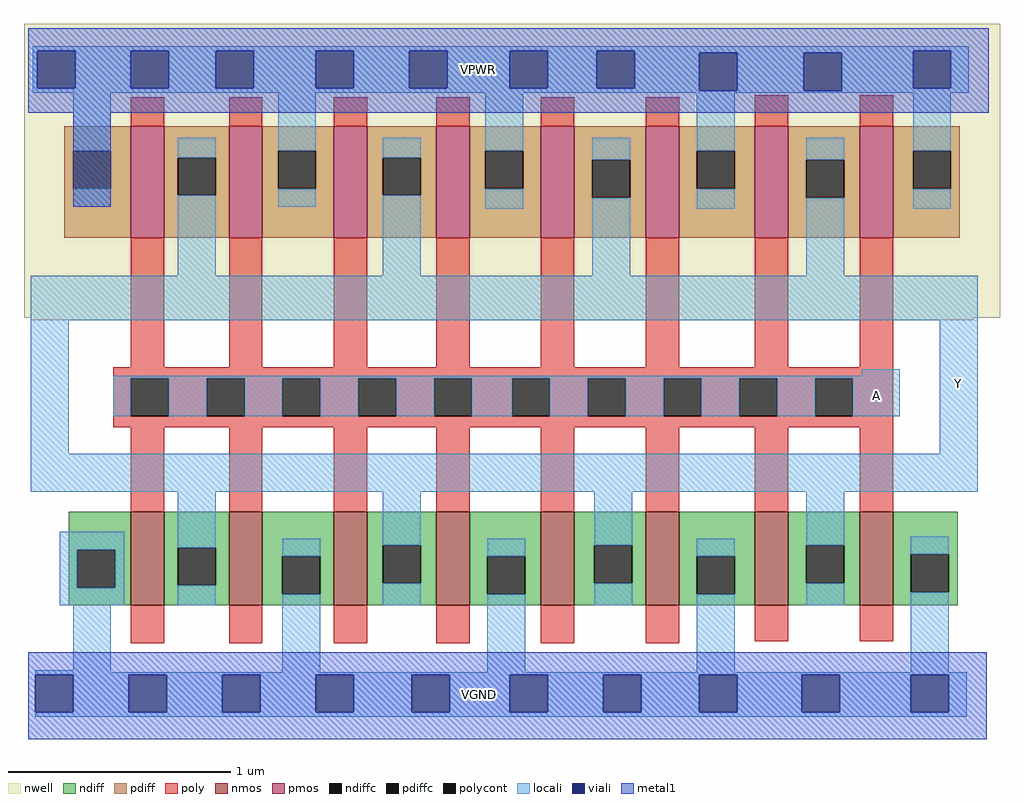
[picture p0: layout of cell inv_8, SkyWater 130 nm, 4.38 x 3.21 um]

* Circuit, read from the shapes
.subckt inv_8 A Y VPWR VGND
XM1 Y A VGND VSUBS sky130_fd_pr__nfet_01v8 w=0.42 l=0.15 m=8
XM2 Y A VPWR n1 sky130_fd_pr__pfet_01v8 w=0.5 l=0.15 m=8
.ends

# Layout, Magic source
magic
tech sky130A
<< nwell >>
rect -2 169 436 301
rect 1 168 424 169
<< nmos >>
rect 46 40 61 82
rect 90 40 105 82
rect 137 40 152 82
rect 183 40 198 82
rect 230 40 245 82
rect 277 40 292 82
rect 326 40 341 82
rect 373 40 388 82
<< pmos >>
rect 46 205 61 255
rect 90 205 105 255
rect 137 205 152 255
rect 183 205 198 255
rect 230 205 245 255
rect 277 205 292 255
rect 326 205 341 255
rect 373 205 388 255
<< ndiff >>
rect 18 65 46 82
rect 18 48 22 65
rect 39 48 46 65
rect 18 40 46 48
rect 61 66 90 82
rect 61 49 67 66
rect 84 49 90 66
rect 61 40 90 49
rect 105 62 137 82
rect 105 45 114 62
rect 131 45 137 62
rect 105 40 137 45
rect 152 67 183 82
rect 152 50 159 67
rect 176 50 183 67
rect 152 40 183 50
rect 198 62 230 82
rect 198 45 206 62
rect 223 45 230 62
rect 198 40 230 45
rect 245 67 277 82
rect 245 50 254 67
rect 271 50 277 67
rect 245 40 277 50
rect 292 62 326 82
rect 292 45 300 62
rect 317 45 326 62
rect 292 40 326 45
rect 341 67 373 82
rect 341 50 349 67
rect 366 50 373 67
rect 341 40 373 50
rect 388 63 417 82
rect 388 46 396 63
rect 413 46 417 63
rect 388 40 417 46
<< pdiff >>
rect 16 244 46 255
rect 16 227 20 244
rect 37 227 46 244
rect 16 205 46 227
rect 61 241 90 255
rect 61 224 67 241
rect 84 224 90 241
rect 61 205 90 224
rect 105 244 137 255
rect 105 227 112 244
rect 129 227 137 244
rect 105 205 137 227
rect 152 241 183 255
rect 152 224 159 241
rect 176 224 183 241
rect 152 205 183 224
rect 198 244 230 255
rect 198 227 205 244
rect 222 227 230 244
rect 198 205 230 227
rect 245 240 277 255
rect 245 223 253 240
rect 270 223 277 240
rect 245 205 277 223
rect 292 244 326 255
rect 292 227 300 244
rect 317 227 326 244
rect 292 205 326 227
rect 341 240 373 255
rect 341 223 349 240
rect 366 223 373 240
rect 341 205 373 223
rect 388 244 418 255
rect 388 227 397 244
rect 414 227 418 244
rect 388 205 418 227
<< ndiffc >>
rect 22 48 39 65
rect 67 49 84 66
rect 114 45 131 62
rect 159 50 176 67
rect 206 45 223 62
rect 254 50 271 67
rect 300 45 317 62
rect 349 50 366 67
rect 396 46 413 63
<< pdiffc >>
rect 20 227 37 244
rect 67 224 84 241
rect 112 227 129 244
rect 159 224 176 241
rect 205 227 222 244
rect 253 223 270 240
rect 300 227 317 244
rect 349 223 366 240
rect 397 227 414 244
<< poly >>
rect 46 255 61 268
rect 90 255 105 268
rect 137 255 152 268
rect 183 255 198 268
rect 230 255 245 268
rect 277 255 292 268
rect 326 255 341 269
rect 373 255 388 269
rect 46 147 61 205
rect 90 147 105 205
rect 137 147 152 205
rect 183 147 198 205
rect 230 147 245 205
rect 277 147 292 205
rect 326 147 341 205
rect 373 147 388 205
rect 38 142 388 147
rect 38 125 46 142
rect 63 125 80 142
rect 97 125 114 142
rect 131 125 148 142
rect 165 125 182 142
rect 199 125 217 142
rect 234 125 251 142
rect 268 125 285 142
rect 302 125 319 142
rect 336 125 353 142
rect 370 125 388 142
rect 38 120 388 125
rect 46 82 61 120
rect 90 82 105 120
rect 137 82 152 120
rect 183 82 198 120
rect 230 82 245 120
rect 277 82 292 120
rect 326 82 341 120
rect 373 82 388 120
rect 46 23 61 40
rect 90 23 105 40
rect 137 23 152 40
rect 183 23 198 40
rect 230 23 245 40
rect 277 23 292 40
rect 326 24 341 40
rect 373 24 388 40
<< polycont >>
rect 46 125 63 142
rect 80 125 97 142
rect 114 125 131 142
rect 148 125 165 142
rect 182 125 199 142
rect 217 125 234 142
rect 251 125 268 142
rect 285 125 302 142
rect 319 125 336 142
rect 353 125 370 142
<< locali >>
rect 2 289 422 291
rect 2 272 4 289
rect 21 272 46 289
rect 63 272 84 289
rect 101 272 129 289
rect 146 272 171 289
rect 188 272 216 289
rect 233 272 255 289
rect 272 288 397 289
rect 272 272 301 288
rect 2 271 301 272
rect 318 271 348 288
rect 365 272 397 288
rect 414 272 422 289
rect 365 271 422 272
rect 2 270 422 271
rect 20 244 37 270
rect 20 219 37 227
rect 67 241 84 250
rect 67 188 84 224
rect 112 244 129 270
rect 112 219 129 227
rect 159 241 176 250
rect 159 188 176 224
rect 205 244 222 270
rect 205 218 222 227
rect 253 240 270 250
rect 253 188 270 223
rect 300 244 317 270
rect 300 218 317 227
rect 349 240 366 250
rect 349 188 366 223
rect 397 244 414 270
rect 397 218 414 227
rect 1 168 426 188
rect 1 108 18 168
rect 374 143 391 146
rect 38 142 391 143
rect 38 125 46 142
rect 63 125 80 142
rect 97 125 114 142
rect 131 125 148 142
rect 165 125 182 142
rect 199 125 217 142
rect 234 125 251 142
rect 268 125 285 142
rect 302 125 319 142
rect 336 125 353 142
rect 370 125 391 142
rect 409 108 426 168
rect 1 91 426 108
rect 14 65 43 73
rect 14 48 22 65
rect 39 48 43 65
rect 14 40 43 48
rect 67 66 84 91
rect 67 40 84 49
rect 114 62 131 70
rect 20 11 37 40
rect 3 10 37 11
rect 114 10 131 45
rect 159 67 176 91
rect 159 40 176 50
rect 206 62 223 70
rect 206 10 223 45
rect 254 67 271 91
rect 254 40 271 50
rect 300 62 317 70
rect 300 10 317 45
rect 349 67 366 91
rect 349 40 366 50
rect 396 63 413 71
rect 396 10 413 46
rect 3 9 421 10
rect 20 -8 45 9
rect 62 -8 87 9
rect 104 -8 129 9
rect 146 -8 172 9
rect 189 -8 216 9
rect 233 -8 258 9
rect 275 -8 301 9
rect 318 -8 347 9
rect 364 -8 396 9
rect 413 -8 421 9
rect 3 -10 421 -8
<< viali >>
rect 4 272 21 289
rect 46 272 63 289
rect 84 272 101 289
rect 129 272 146 289
rect 171 272 188 289
rect 216 272 233 289
rect 255 272 272 289
rect 301 271 318 288
rect 348 271 365 288
rect 397 272 414 289
rect 3 -8 20 9
rect 45 -8 62 9
rect 87 -8 104 9
rect 129 -8 146 9
rect 172 -8 189 9
rect 216 -8 233 9
rect 258 -8 275 9
rect 301 -8 318 9
rect 347 -8 364 9
rect 396 -8 413 9
<< metal1 >>
rect 0 289 431 299
rect 0 272 4 289
rect 21 272 46 289
rect 63 272 84 289
rect 101 272 129 289
rect 146 272 171 289
rect 188 272 216 289
rect 233 272 255 289
rect 272 288 397 289
rect 272 272 301 288
rect 0 271 301 272
rect 318 271 348 288
rect 365 272 397 288
rect 414 272 431 289
rect 365 271 431 272
rect 0 261 431 271
rect 20 219 37 261
rect 0 9 430 19
rect 0 -8 3 9
rect 20 -8 45 9
rect 62 -8 87 9
rect 104 -8 129 9
rect 146 -8 172 9
rect 189 -8 216 9
rect 233 -8 258 9
rect 275 -8 301 9
rect 318 -8 347 9
rect 364 -8 396 9
rect 413 -8 430 9
rect 0 -20 430 -8
<< labels >>
flabel locali 370 125 391 143 0 FreeSans 120 0 0 0 A
port 0 nsew signal input
flabel locali 409 91 426 188 0 FreeSans 120 0 0 0 Y
port 1 nsew signal output
flabel metal1 188 270 216 291 0 FreeSans 120 0 0 0 VPWR
port 3 nsew power bidirectional
flabel metal1 189 -10 216 10 0 FreeSans 120 0 0 0 VGND
port 5 nsew ground bidirectional
<< properties >>
string FIXED_BBOX 0 0 428 278
<< end >>
